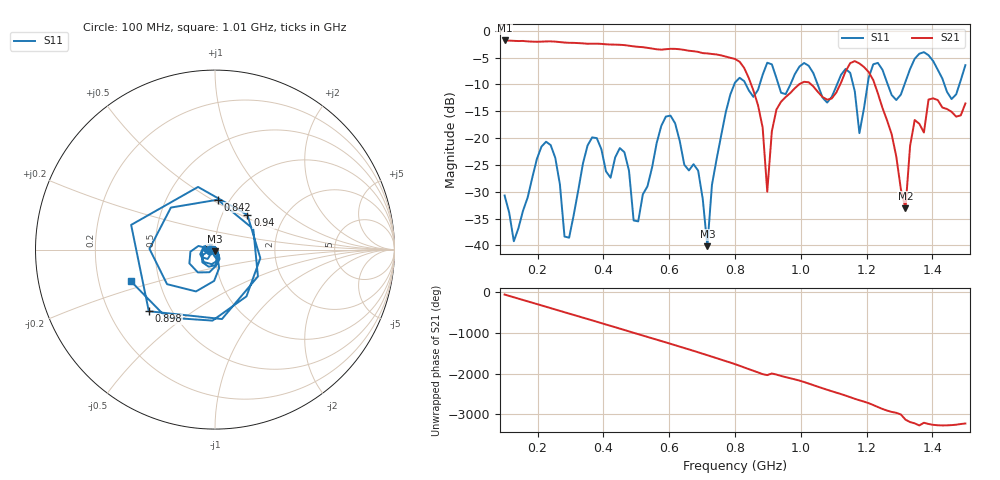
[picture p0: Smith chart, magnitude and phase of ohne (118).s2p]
! NanoVNA-App
! Date: 2025-09-25 17:39:12
! Start: 100MHz Stop: 1,5GHz Points: 101
! S-Parameter data: F S11 S21 S12 S22
# Hz S RI R 50
!  Frequency  S11_Real  S11_Imag  S21_Real  S21_Imag  S12_Real  S12_Imag  S22_Real  S22_Imag
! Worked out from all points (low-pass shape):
!   101 points, 100 MHz to 1.5 GHz, reference 50 ohm
!   highest |S21| = -1.80 dB at 100 MHz (marker M1); lowest = -33.1 dB at 1.318 GHz (marker M2)
!   |S21| within 3 dB of the highest: start of sweep to 771.6 MHz
!   lowest |S11| = -40.1 dB at 716 MHz (marker M3), VSWR 1.02, Z = 49.9 - j0.974 ohm
!   |S11| at or under -10 dB: start of sweep to 797.7 MHz; 833 MHz to 875 MHz (41.97 MHz wide, 4.91 % of centre); 1.051 GHz to 1.11 GHz (58.91 MHz wide, 5.45 % of centre) (the widest 3 of 7)
!   S12 and S22 are empty: the file has one direction only
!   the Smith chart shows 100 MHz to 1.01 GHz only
!   S11 on the Smith chart (normalised r, x): 100 MHz: 0.94, -0.01; 842 MHz: 0.88, +0.53; 898 MHz: 0.37, -0.34; 940 MHz: 1.31, +0.55; 1.01 GHz: 0.34, -0.16
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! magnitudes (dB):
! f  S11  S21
! 100 MHz  -30.7  -1.8
! 128 MHz  -39.2  -1.9
! 226 MHz  -20.7  -2.0
! 296 MHz  -38.5  -2.2
! 338 MHz  -24.7  -2.3
! 464 MHz  -22.6  -2.7
! 506 MHz  -35.5  -3.0
! 576 MHz  -17.7  -3.5
! 688 MHz  -26.0  -3.9
! 716 MHz  -40.1  -4.2
! 800 MHz  -9.6  -5.2
! 842 MHz  -11.1  -8.8
! 898 MHz  -6.0  -30.0
! 940 MHz  -11.5  -13.2
! 1.01 GHz  -6.0  -9.5
! 1.038 GHz  -7.9  -10.4
! 1.178 GHz  -19.1  -6.1
! 1.22 GHz  -6.2  -9.2
! 1.276 GHz  -12.0  -19.3
! 1.318 GHz  -9.5  -33.1
! 1.346 GHz  -5.2  -16.6
! 1.5 GHz  -6.4  -13.5
